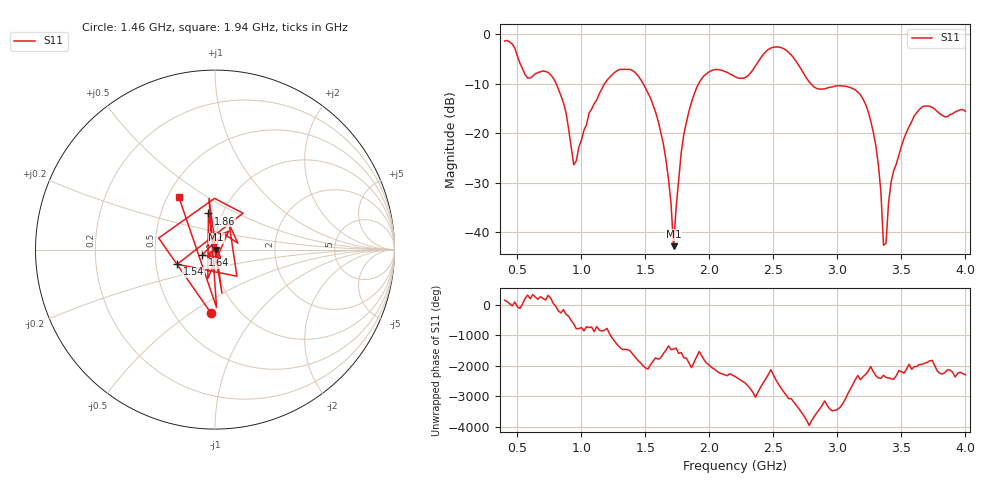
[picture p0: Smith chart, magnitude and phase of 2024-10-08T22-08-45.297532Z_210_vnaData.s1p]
! Created with skrf (http://scikit-rf.org).
# Hz S RI R 50.0
!freq ReS11 ImS11
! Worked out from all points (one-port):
!   181 points, 400 MHz to 4 GHz, reference 50 ohm
!   lowest |S11| = -42.8 dB at 1.72 GHz (marker M1), VSWR 1.01, Z = 50.7 - j0.0663 ohm
!   |S11| at or under -10 dB: 802.7 MHz to 1.182 GHz (378.9 MHz wide, 38.2 % of centre); 1.482 GHz to 1.916 GHz (434.1 MHz wide, 25.5 % of centre); 2.791 GHz to end of sweep
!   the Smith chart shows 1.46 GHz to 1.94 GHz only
!   S11 on the Smith chart (normalised r, x): 1.46 GHz: 0.75, -0.60; 1.54 GHz: 0.64, -0.11; 1.64 GHz: 0.86, -0.05; 1.86 GHz: 0.86, +0.36; 1.94 GHz: 0.57, +0.38
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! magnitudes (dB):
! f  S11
! 400 MHz  -1.4
! 580 MHz  -8.9
! 760 MHz  -8.2
! 860 MHz  -13.9
! 940 MHz  -26.4
! 1.06 GHz  -16.0
! 1.3 GHz  -7.2
! 1.46 GHz  -9.1
! 1.54 GHz  -12.9
! 1.64 GHz  -22.1
! 1.7 GHz  -34.1
! 1.72 GHz  -42.8
! 1.76 GHz  -29.3
! 1.86 GHz  -13.8
! 1.94 GHz  -9.0
! 2.2 GHz  -8.6
! 2.5 GHz  -2.7
! 2.66 GHz  -4.9
! 2.84 GHz  -11.0
! 3.1 GHz  -10.8
! 3.28 GHz  -19.8
! 3.34 GHz  -31.9
! 3.36 GHz  -42.6
! 3.38 GHz  -42.2
! 3.42 GHz  -29.8
! 3.56 GHz  -18.7
! 3.68 GHz  -14.5
! 4 GHz  -15.6
